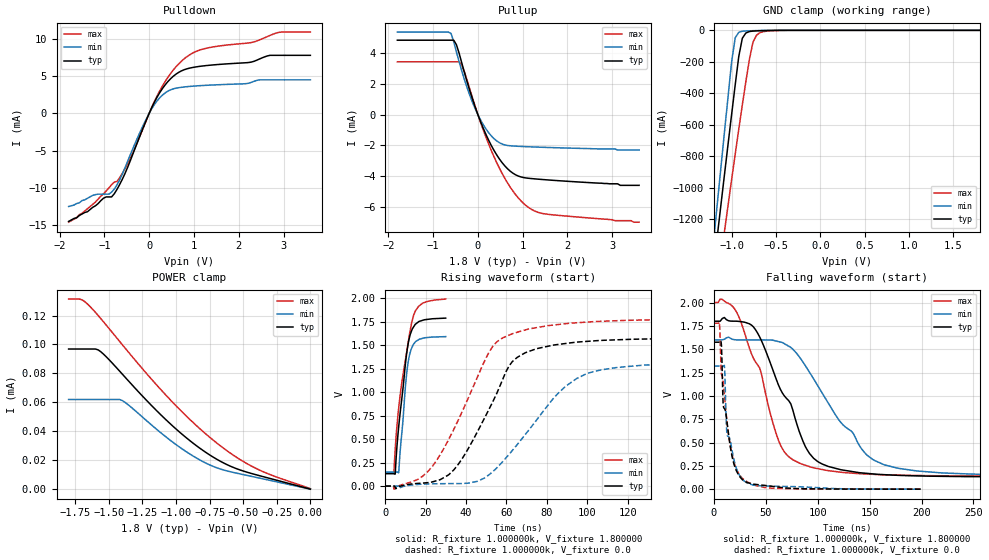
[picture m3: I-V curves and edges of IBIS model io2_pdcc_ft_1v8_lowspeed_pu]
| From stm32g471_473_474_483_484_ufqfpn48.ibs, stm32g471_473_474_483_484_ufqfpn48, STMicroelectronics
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|   Model io2_pdcc_ft_1v8_lowspeed_pu
[Model]  io2_pdcc_ft_1v8_lowspeed_pu
Model_type I/O
Polarity   Non-Inverting
Enable   Active-Low
Vinl =   0.540000V
Vinh =   1.260000V
Vmeas =  0.900000V
Cref =   50.000000pF
Rref =   100.000000M
Vref =   0.0V
C_comp   4.366800pF   3.639100pF   5.105000pF
[Temperature Range]   25.000000   -40.000000   0.125000k
[Pullup Reference]   1.800000V   1.600000V   2.000000V
[Pulldown Reference]   0.0V   0.0V   0.0V
[POWER Clamp Reference]   1.800000V   1.600000V   2.000000V
[GND Clamp Reference]   0.0V   0.0V   0.0V
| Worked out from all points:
|   slope of the pulldown table from 0 to 0.27 V, typ, clamps not added: 87.5 ohm
|   slope of the pullup table from 0 to 0.27 V, typ, clamps not added: 147 ohm
|   GND clamp passes 1 mA (typ) near -0.58 V on its own axis
|   rising waveform, R_fixture 1.000000k, V_fixture 1.800000: 20-80 % time 4.94ns typ, 3.58ns min, 6.73ns max; typ from 0.134 V to 1.79 V
|   rising waveform, R_fixture 1.000000k, V_fixture 0.0: 20-80 % time 22.1ns typ, 30.6ns min, 23.5ns max; typ from 0.003 V to 1.57 V
|   falling waveform, R_fixture 1.000000k, V_fixture 1.800000: 20-80 % time 37.3ns typ, 53ns min, 31.8ns max; typ from 1.8 V to 0.134 V
|   falling waveform, R_fixture 1.000000k, V_fixture 0.0: 20-80 % time 10.2ns typ, 9.53ns min, 11.3ns max; typ from 1.57 V to 0.003 V
[Pulldown]
|Voltage   I(typ)   I(min)   I(max)
-1.8V     -14.5mA    -12.5mA    -14.6mA
-1.2V     -12.4mA    -10.9mA    -11.9mA
-900mV    -11.21mA   -10.84mA   -10mA
-780mV    -10.79mA   -10.16mA   -9.24mA
-480mV    -7.221mA   -6.409mA   -6.723mA
60mV      806.2uA    646.5uA    843.8uA
300mV     3.356mA    2.463mA    3.703mA
600mV     5.259mA    3.369mA    6.249mA
1.2V      6.348mA    3.729mA    8.613mA
2.28V     6.865mA    4.146mA    9.488mA
2.88V     7.774mA    4.487mA    10.84mA
3.6V      7.774mA    4.487mA    10.89mA
[Pullup]
|Voltage   I(typ)   I(min)   I(max)
-1.8V     4.851mA    5.38mA     3.444mA
-660mV    4.851mA    5.38mA     3.444mA
-540mV    4.851mA    4.746mA    3.444mA
-420mV    4.004mA    3.449mA    3.444mA
-300mV    2.736mA    2.275mA    2.783mA
-120mV    1.005mA    795.6uA    1.088mA
180mV     -1.289mA   -926.4uA   -1.468mA
480mV     -2.883mA   -1.823mA   -3.482mA
840mV     -3.912mA   -2.048mA   -5.199mA
1.14V     -4.142mA   -2.089mA   -6.059mA
1.44V     -4.22mA    -2.122mA   -6.431mA
3.6V      -4.6mA     -2.3mA     -7mA
[GND_clamp]
|Voltage   I(typ)   I(min)   I(max)
-1.8V     -4.43A     -4.747A    -4.297A
-1.2V     -1.489A    -1.316A    -1.768A
-1.16V    -1.295A    -1.089A    -1.601A
-1.12V    -1.102A    -863.2mA   -1.436A
-1.08V    -909.8mA   -638.7mA   -1.271A
-1V       -530.7mA   -197.2mA   -945.5mA
-960mV    -345.6mA   -47.17mA   -785.2mA
-920mV    -166mA     -12.66mA   -627.5mA
-880mV    -50.53mA   -5.875mA   -473.7mA
-760mV    -4.783mA   -2.396mA   -75.32mA
-680mV    -2.529mA   -1.097mA   -14.51mA
1.8V      0A         0A         305.1nA
[POWER_clamp]
|Voltage   I(typ)   I(min)   I(max)
-1.8V     96.87uA    61.96uA    131.4uA
-1.7V     96.87uA    61.96uA    130.9uA
-1.58V    96.27uA    61.96uA    120uA
-1.52V    91.51uA    61.96uA    113.4uA
-1.4V     79.51uA    61.23uA    99.84uA
-1.18V    57.56uA    44.16uA    75.7uA
-1V       41.57uA    30.8uA     57.62uA
-820mV    28.11uA    20.04uA    41.55uA
-680mV    19.79uA    14.23uA    30.67uA
-560mV    14.52uA    11.29uA    22.65uA
-400mV    9.851uA    8.07uA     14.13uA
0V        0A         0A         360.1nA
[Ramp]
| variable   typ   min   max
dV/dt_r  1.06445/13.19023n   0.94226/14.54388n   1.18375/14.51011n
dV/dt_f  1.07041/25.96847n   0.94990/34.80643n   1.18921/22.76020n
R_load = 10.000000k
[Rising Waveform]
R_fixture= 1.000000k
V_fixture= 1.800000
V_fixture_min= 1.600000
V_fixture_max= 2.000000
|time   V(typ)   V(min)   V(max)
0s        134.3mV    151.7mV    142.3mV
4.264ns   134.3mV    151.7mV    144.8mV
4.985ns   146.6mV    151.7mV    411.2mV
5.646ns   379.2mV    151.9mV    602.5mV
6.667ns   633.7mV    150.9mV    833.4mV
10.63ns   1.413V     1.203V     1.428V
12.13ns   1.592V     1.405V     1.631V
14.11ns   1.696V     1.512V     1.821V
18.5ns    1.763V     1.571V     1.945V
29.91ns   1.786V     1.59V      1.988V
[Rising Waveform]
R_fixture= 1.000000k
V_fixture= 0.0
V_fixture_min= 0.0
V_fixture_max= 0.0
|time   V(typ)   V(min)   V(max)
0s        2.926mV    2.562mV    3.94mV
4.404ns   3.774mV    2.558mV    -29.95mV
18.82ns   35.04mV    23.67mV    113.1mV
34.03ns   176.8mV    29.14mV    609.5mV
51.25ns   813.5mV    120.8mV    1.419V
63.26ns   1.331V     390mV      1.623V
85.69ns   1.507V     990.3mV    1.718V
100.1ns   1.54V      1.199V     1.744V
128.1ns   1.564V     1.287V     1.766V
199.4ns   1.575V     1.317V     1.778V
[Falling Waveform]
R_fixture= 1.000000k
V_fixture= 1.800000
V_fixture_min= 1.600000
V_fixture_max= 2.000000
|time   V(typ)   V(min)   V(max)
0s        1.8V       1.6V       2V
20.02ns   1.8V       1.602V     1.929V
38.04ns   1.739V     1.6V       1.403V
44.04ns   1.632V     1.6V       1.3V
68.07ns   997.5mV    1.558V     398mV
90.09ns   419.6mV    1.289V     251.7mV
108.1ns   255.3mV    961.6mV    204.7mV
148.1ns   171.4mV    360.9mV    164.3mV
196.2ns   145.2mV    197.1mV    149.1mV
997ns     134.3mV    151.7mV    142.3mV
[Falling Waveform]
R_fixture= 1.000000k
V_fixture= 0.0
V_fixture_min= 0.0
V_fixture_max= 0.0
|time   V(typ)   V(min)   V(max)
0s        1.575V     1.32V      1.779V
5.205ns   1.575V     1.32V      1.79V
6.807ns   1.587V     1.32V      1.304V
7.608ns   1.422V     1.32V      1.216V
8.809ns   927.3mV    1.32V      1.158V
10.01ns   866.1mV    1.328V     1.019V
12.41ns   733.7mV    601.2mV    744.7mV
18.42ns   306.6mV    361.6mV    329.1mV
27.63ns   102.8mV    105.1mV    115.8mV
199.4ns   3.119mV    3.094mV    4.107mV
